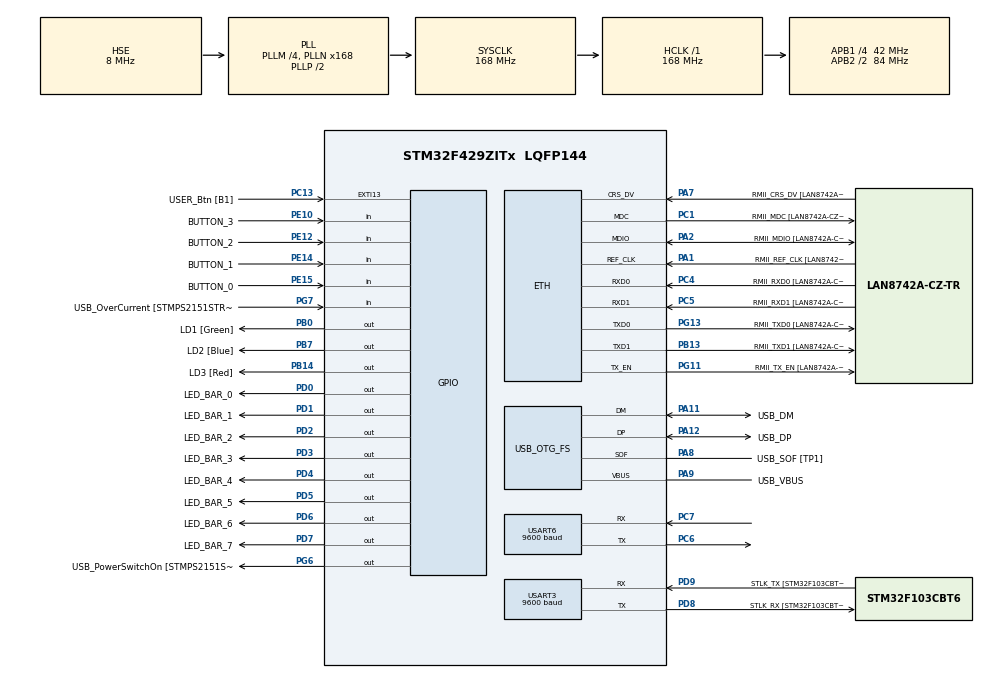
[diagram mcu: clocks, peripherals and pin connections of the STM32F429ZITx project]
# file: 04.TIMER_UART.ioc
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ETH.MediaInterface=HAL_ETH_RMII_MODE
ETH.PHY_Name=LAN8742A_PHY_ADDRESS
ETH.PHY_Value=0
ETH.PhyAddress=0
Mcu.Family=STM32F4
Mcu.Name=STM32F429ZITx
Mcu.Package=LQFP144
NVIC.PriorityGroup=NVIC_PRIORITYGROUP_4
NVIC.USART3_IRQn=true\:0\:0\:false\:false\:true\:true\:true\:true
NVIC.USART6_IRQn=true\:0\:0\:false\:false\:true\:true\:true\:true
PA1.GPIO_Label=RMII_REF_CLK [LAN8742A-CZ-TR_REFCLK0]
PA1.Mode=RMII
PA1.Signal=ETH_REF_CLK
PA10.GPIO_Label=USB_ID
PA10.Signal=USB_OTG_FS_ID
PA11.GPIO_Label=USB_DM
PA11.Mode=Device_Only
PA11.Signal=USB_OTG_FS_DM
PA12.GPIO_Label=USB_DP
PA12.Mode=Device_Only
PA12.Signal=USB_OTG_FS_DP
PA13.GPIO_Label=TMS
PA13.Mode=Serial_Wire
PA13.Signal=SYS_JTMS-SWDIO
PA14.GPIO_Label=TCK
PA14.Mode=Serial_Wire
PA14.Signal=SYS_JTCK-SWCLK
PA2.GPIO_Label=RMII_MDIO [LAN8742A-CZ-TR_MDIO]
PA2.Mode=RMII
PA2.Signal=ETH_MDIO
PA7.GPIO_Label=RMII_CRS_DV [LAN8742A-CZ-TR_CRS_DV]
PA7.Mode=RMII
PA7.Signal=ETH_CRS_DV
PA8.GPIO_Label=USB_SOF [TP1]
PA8.Mode=Activate_SOF_FS
PA8.Signal=USB_OTG_FS_SOF
PA9.GPIO_Label=USB_VBUS
PA9.Mode=Activate_VBUS
PA9.Signal=USB_OTG_FS_VBUS
PB0.GPIO_Label=LD1 [Green]
PB0.Signal=GPIO_Output
PB13.GPIO_Label=RMII_TXD1 [LAN8742A-CZ-TR_TXD1]
PB13.Mode=RMII
PB13.Signal=ETH_TXD1
PB14.GPIO_Label=LD3 [Red]
PB14.Signal=GPIO_Output
PB7.GPIO_Label=LD2 [Blue]
PB7.Signal=GPIO_Output
PC1.GPIO_Label=RMII_MDC [LAN8742A-CZ-TR_MDC]
PC1.Mode=RMII
PC1.Signal=ETH_MDC
PC13.GPIO_Label=USER_Btn [B1]
PC13.Signal=GPXTI13
PC14/OSC32_IN.Mode=LSE-External-Oscillator
PC14/OSC32_IN.Signal=RCC_OSC32_IN
PC15/OSC32_OUT.Mode=LSE-External-Oscillator
PC15/OSC32_OUT.Signal=RCC_OSC32_OUT
PC4.GPIO_Label=RMII_RXD0 [LAN8742A-CZ-TR_RXD0]
PC4.Mode=RMII
PC4.Signal=ETH_RXD0
PC5.GPIO_Label=RMII_RXD1 [LAN8742A-CZ-TR_RXD1]
PC5.Mode=RMII
PC5.Signal=ETH_RXD1
PC6.Mode=Asynchronous
PC6.Signal=USART6_TX
PC7.Mode=Asynchronous
PC7.Signal=USART6_RX
PD0.GPIO_Label=LED_BAR_0
PD0.PinState=GPIO_PIN_RESET
PD0.Signal=GPIO_Output
PD1.GPIO_Label=LED_BAR_1
PD1.PinState=GPIO_PIN_RESET
PD1.Signal=GPIO_Output
PD2.GPIO_Label=LED_BAR_2
PD2.PinState=GPIO_PIN_RESET
PD2.Signal=GPIO_Output
PD3.GPIO_Label=LED_BAR_3
PD3.PinState=GPIO_PIN_RESET
PD3.Signal=GPIO_Output
PD4.GPIO_Label=LED_BAR_4
PD4.PinState=GPIO_PIN_RESET
PD4.Signal=GPIO_Output
PD5.GPIO_Label=LED_BAR_5
PD5.PinState=GPIO_PIN_RESET
PD5.Signal=GPIO_Output
PD6.GPIO_Label=LED_BAR_6
PD6.PinState=GPIO_PIN_RESET
PD6.Signal=GPIO_Output
PD7.GPIO_Label=LED_BAR_7
PD7.PinState=GPIO_PIN_RESET
PD7.Signal=GPIO_Output
PD8.GPIO_Label=STLK_RX [STM32F103CBT6_PA3]
PD8.Mode=Asynchronous
PD8.Signal=USART3_TX
PD9.GPIO_Label=STLK_TX [STM32F103CBT6_PA2]
PD9.Mode=Asynchronous
PD9.Signal=USART3_RX
PE10.GPIO_Label=BUTTON_3
PE10.Signal=GPIO_Input
PE12.GPIO_Label=BUTTON_2
PE12.Signal=GPIO_Input
PE14.GPIO_Label=BUTTON_1
PE14.Signal=GPIO_Input
PE15.GPIO_Label=BUTTON_0
PE15.Signal=GPIO_Input
PG11.GPIO_Label=RMII_TX_EN [LAN8742A-CZ-TR_TXEN]
PG11.Mode=RMII
PG11.Signal=ETH_TX_EN
PG13.GPIO_Label=RMII_TXD0 [LAN8742A-CZ-TR_TXD0]
PG13.Mode=RMII
PG13.Signal=ETH_TXD0
PG6.GPIO_Label=USB_PowerSwitchOn [STMPS2151STR_EN]
PG6.Signal=GPIO_Output
PG7.GPIO_Label=USB_OverCurrent [STMPS2151STR_FAULT]
PG7.Signal=GPIO_Input
PH0/OSC_IN.GPIO_Label=MCO [STM32F103CBT6_PA8]
PH0/OSC_IN.Mode=HSE-External-Clock-Source
PH0/OSC_IN.Signal=RCC_OSC_IN
PH1/OSC_OUT.Mode=HSE-External-Clock-Source
PH1/OSC_OUT.Signal=RCC_OSC_OUT
ProjectManager.HeapSize=0x200
ProjectManager.StackSize=0x400
ProjectManager.TargetToolchain=STM32CubeIDE
RCC.48MHZClocksFreq_Value=48000000
RCC.AHBFreq_Value=168000000
RCC.APB1CLKDivider=RCC_HCLK_DIV4
RCC.APB1Freq_Value=42000000
RCC.APB1TimFreq_Value=84000000
RCC.APB2CLKDivider=RCC_HCLK_DIV2
RCC.APB2Freq_Value=84000000
RCC.APB2TimCLKDivider=2
RCC.APB2TimFreq_Value=168000000
RCC.CortexFreq_Value=168000000
RCC.HCLKFreq_Value=168000000
RCC.HSE_VALUE=8000000
RCC.HSI_VALUE=16000000
RCC.PLLM=4
RCC.PLLMUL=RCC_PLL_MUL9
RCC.PLLN=168
RCC.PLLQ=7
RCC.PRESCALERUSB=RCC_USBCLKSOURCE_PLL_DIV1_5
RCC.SYSCLKFreq_VALUE=168000000
RCC.SYSCLKSource=RCC_SYSCLKSOURCE_PLLCLK
RCC.SYSCLKSourceVirtual=RCC_SYSCLKSOURCE_PLLCLK
RCC.USBFreq_Value=48000000
RCC.VCOOutputFreq_Value=336000000
USART3.BaudRate=9600
USART3.VirtualMode=VM_ASYNC
USART6.BaudRate=9600
USART6.VirtualMode=VM_ASYNC
USB_OTG_FS.VirtualMode=Device_Only
board=NUCLEO-F429ZI

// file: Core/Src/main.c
/* USER CODE BEGIN Header */
/**
  ******************************************************************************
  * @file           : main.c
  * @brief          : Main program body
  ******************************************************************************
  * @attention
  *
  * Copyright (c) 2023 STMicroelectronics.
  * All rights reserved.
  *
  * This software is licensed under terms that can be found in the LICENSE file
  * in the root directory of this software component.
  * If no LICENSE file comes with this software, it is provided AS-IS.
  *
  ******************************************************************************
  */
/* USER CODE END Header */
#include "main.h"
#include "string.h"

/* USER CODE BEGIN Includes */
//#include "led.h"
#include "led_final.h"
#include "button.h"
/* USER CODE END Includes */

ETH_TxPacketConfig TxConfig;
ETH_DMADescTypeDef  DMARxDscrTab[ETH_RX_DESC_CNT]; /* Ethernet Rx DMA Descriptors */
ETH_DMADescTypeDef  DMATxDscrTab[ETH_TX_DESC_CNT]; /* Ethernet Tx DMA Descriptors */

ETH_HandleTypeDef heth;

UART_HandleTypeDef huart3;
UART_HandleTypeDef huart6;

PCD_HandleTypeDef hpcd_USB_OTG_FS;

/* USER CODE BEGIN PV */
	uint8_t rx_data; 	// uart3 rx data
	uint8_t bt_rx_data; // uart6 BLUETOOTH rx data
/* USER CODE END PV */

void SystemClock_Config(void);
static void MX_GPIO_Init(void);
static void MX_ETH_Init(void);
static void MX_USART3_UART_Init(void);
static void MX_USB_OTG_FS_PCD_Init(void);
static void MX_USART6_UART_Init(void);
/* USER CODE BEGIN PFP */
//extern void led_main(void);
extern void led_final_main(void);
extern void pc_command_processing(void);
extern void bt_command_processing(void);
/* USER CODE END PFP */

/* USER CODE BEGIN 0 */
// call by SysTick_Handler of stm3244xx_it.c
// ARM default timer
// enter here every 1ms
volatile int t1ms_counter = 0; // volatile : 컴파?��?��?�� ?��?�� 최적?�� 방�?
void HAL_SYSTICK_Handler(void)
{
	t1ms_counter++;
}
//----------  printf start ----------
#ifdef __GNUC__
/* With GCC, small printf (option LD Linker->Libraries->Small printf
   set to 'Yes') calls __io_putchar() */
#define PUTCHAR_PROTOTYPE int __io_putchar(int ch)
#else
#define PUTCHAR_PROTOTYPE int fputc(int ch, FILE *f)
#endif /* __GNUC_ */
/**
  * @brief  Retargets the C library printf function to the USART.
  * @param  None
  * @retval None
  */
PUTCHAR_PROTOTYPE   // Add for printf
{
  /* Place your implementation of fputc here */
  /* e.g. write a character to the USART3 and Loop until the end of transmission */
  HAL_UART_Transmit(&huart3, (uint8_t *)&ch, 1, 0xFFFF);

  return ch;
}
//----------  printf end ----------
/* USER CODE END 0 */

int main(void)
{

  /* MCU Configuration--------------------------------------------------------*/

  /* Reset of all peripherals, Initializes the Flash interface and the Systick. */
  HAL_Init();

  /* Configure the system clock */
  SystemClock_Config();

  /* Initialize all configured peripherals */
  MX_GPIO_Init();
  MX_ETH_Init();
  MX_USART3_UART_Init();
  MX_USB_OTG_FS_PCD_Init();
  MX_USART6_UART_Init();
  /* USER CODE BEGIN 2 */

  HAL_UART_Receive_IT(&huart3, &rx_data, 1);   // Assign to RX INT
  HAL_UART_Receive_IT(&huart6, &bt_rx_data, 1);
//printf("CALLING LED_MAIN()\n");
//  led_main();
//printf("CALLING THE FINAL LED_FINAL_MAIN()\n");
//  led_final_main();
  /* USER CODE END 2 */

  /* Infinite loop */
  /* USER CODE BEGIN WHILE */
  while (1)
  {
//	  printf("7604\n");
//	  HAL_Delay(100);
	  pc_command_processing();
//	  bt_command_processing();
    /* USER CODE END WHILE */

    /* USER CODE BEGIN 3 */
//	  HAL_GPIO_TogglePin(GPIOB, GPIO_PIN_14); // LED3
//	  HAL_Delay(100); // delay for 100 ms
//	  HAL_GPIO_TogglePin(GPIOB, GPIO_PIN_7);  // LED2
//	  HAL_Delay(200); // delay for 200 ms
//	  HAL_GPIO_TogglePin(GPIOB, GPIO_PIN_0);  // LED1
//	  HAL_Delay(300); // delay for 300 ms

//	  HAL_GPIO_TogglePin(GPIOD, GPIO_PIN_0);  // LED1
//	  HAL_Delay(300); // delay for 300 ms
//	  HAL_GPIO_TogglePin(GPIOD, GPIO_PIN_1);  // LED1
//	  HAL_Delay(300); // delay for 300 ms
//	  HAL_GPIO_TogglePin(GPIOD, GPIO_PIN_2);  // LED1
//	  HAL_Delay(300); // delay for 300 ms
//	  HAL_GPIO_TogglePin(GPIOD, GPIO_PIN_3);  // LED1
//	  HAL_Delay(300); // delay for 300 ms
//	  HAL_GPIO_TogglePin(GPIOD, GPIO_PIN_4);  // LED1
//	  HAL_Delay(300); // delay for 300 ms
//	  HAL_GPIO_TogglePin(GPIOD, GPIO_PIN_5);  // LED1
//	  HAL_Delay(300); // delay for 300 ms
//	  HAL_GPIO_TogglePin(GPIOD, GPIO_PIN_6);  // LED1
//	  HAL_Delay(300); // delay for 300 ms
//	  HAL_GPIO_TogglePin(GPIOD, GPIO_PIN_7);  // LED1
//	  HAL_Delay(300); // delay for 300 ms
  }
  /* USER CODE END 3 */
}

void SystemClock_Config(void)
{
  RCC_OscInitTypeDef RCC_OscInitStruct = {0};
  RCC_ClkInitTypeDef RCC_ClkInitStruct = {0};

  /** Configure the main internal regulator output voltage
  */
  __HAL_RCC_PWR_CLK_ENABLE();
  __HAL_PWR_VOLTAGESCALING_CONFIG(PWR_REGULATOR_VOLTAGE_SCALE1);

  /** Initializes the RCC Oscillators according to the specified parameters
  * in the RCC_OscInitTypeDef structure.
  */
  RCC_OscInitStruct.OscillatorType = RCC_OSCILLATORTYPE_HSE;
  RCC_OscInitStruct.HSEState = RCC_HSE_BYPASS;
  RCC_OscInitStruct.PLL.PLLState = RCC_PLL_ON;
  RCC_OscInitStruct.PLL.PLLSource = RCC_PLLSOURCE_HSE;
  RCC_OscInitStruct.PLL.PLLM = 4;
  RCC_OscInitStruct.PLL.PLLN = 168;
  RCC_OscInitStruct.PLL.PLLP = RCC_PLLP_DIV2;
  RCC_OscInitStruct.PLL.PLLQ = 7;
  if (HAL_RCC_OscConfig(&RCC_OscInitStruct) != HAL_OK)
  {
    Error_Handler();
  }

  /** Initializes the CPU, AHB and APB buses clocks
  */
  RCC_ClkInitStruct.ClockType = RCC_CLOCKTYPE_HCLK|RCC_CLOCKTYPE_SYSCLK
                              |RCC_CLOCKTYPE_PCLK1|RCC_CLOCKTYPE_PCLK2;
  RCC_ClkInitStruct.SYSCLKSource = RCC_SYSCLKSOURCE_PLLCLK;
  RCC_ClkInitStruct.AHBCLKDivider = RCC_SYSCLK_DIV1;
  RCC_ClkInitStruct.APB1CLKDivider = RCC_HCLK_DIV4;
  RCC_ClkInitStruct.APB2CLKDivider = RCC_HCLK_DIV2;

  if (HAL_RCC_ClockConfig(&RCC_ClkInitStruct, FLASH_LATENCY_5) != HAL_OK)
  {
    Error_Handler();
  }
}

static void MX_ETH_Init(void)
{

   static uint8_t MACAddr[6];

  heth.Instance = ETH;
  MACAddr[0] = 0x00;
  MACAddr[1] = 0x80;
  MACAddr[2] = 0xE1;
  MACAddr[3] = 0x00;
  MACAddr[4] = 0x00;
  MACAddr[5] = 0x00;
  heth.Init.MACAddr = &MACAddr[0];
  heth.Init.MediaInterface = HAL_ETH_RMII_MODE;
  heth.Init.TxDesc = DMATxDscrTab;
  heth.Init.RxDesc = DMARxDscrTab;
  heth.Init.RxBuffLen = 1524;

  if (HAL_ETH_Init(&heth) != HAL_OK)
  {
    Error_Handler();
  }

  memset(&TxConfig, 0 , sizeof(ETH_TxPacketConfig));
  TxConfig.Attributes = ETH_TX_PACKETS_FEATURES_CSUM | ETH_TX_PACKETS_FEATURES_CRCPAD;
  TxConfig.ChecksumCtrl = ETH_CHECKSUM_IPHDR_PAYLOAD_INSERT_PHDR_CALC;
  TxConfig.CRCPadCtrl = ETH_CRC_PAD_INSERT;

}

static void MX_USART3_UART_Init(void)
{

  huart3.Instance = USART3;
  huart3.Init.BaudRate = 9600;
  huart3.Init.WordLength = UART_WORDLENGTH_8B;
  huart3.Init.StopBits = UART_STOPBITS_1;
  huart3.Init.Parity = UART_PARITY_NONE;
  huart3.Init.Mode = UART_MODE_TX_RX;
  huart3.Init.HwFlowCtl = UART_HWCONTROL_NONE;
  huart3.Init.OverSampling = UART_OVERSAMPLING_16;
  if (HAL_UART_Init(&huart3) != HAL_OK)
  {
    Error_Handler();
  }

}

static void MX_USART6_UART_Init(void)
{

  huart6.Instance = USART6;
  huart6.Init.BaudRate = 9600;
  huart6.Init.WordLength = UART_WORDLENGTH_8B;
  huart6.Init.StopBits = UART_STOPBITS_1;
  huart6.Init.Parity = UART_PARITY_NONE;
  huart6.Init.Mode = UART_MODE_TX_RX;
  huart6.Init.HwFlowCtl = UART_HWCONTROL_NONE;
  huart6.Init.OverSampling = UART_OVERSAMPLING_16;
  if (HAL_UART_Init(&huart6) != HAL_OK)
  {
    Error_Handler();
  }

}

static void MX_USB_OTG_FS_PCD_Init(void)
{

  hpcd_USB_OTG_FS.Instance = USB_OTG_FS;
  hpcd_USB_OTG_FS.Init.dev_endpoints = 4;
  hpcd_USB_OTG_FS.Init.speed = PCD_SPEED_FULL;
  hpcd_USB_OTG_FS.Init.dma_enable = DISABLE;
  hpcd_USB_OTG_FS.Init.phy_itface = PCD_PHY_EMBEDDED;
  hpcd_USB_OTG_FS.Init.Sof_enable = ENABLE;
  hpcd_USB_OTG_FS.Init.low_power_enable = DISABLE;
  hpcd_USB_OTG_FS.Init.lpm_enable = DISABLE;
  hpcd_USB_OTG_FS.Init.vbus_sensing_enable = ENABLE;
  hpcd_USB_OTG_FS.Init.use_dedicated_ep1 = DISABLE;
  if (HAL_PCD_Init(&hpcd_USB_OTG_FS) != HAL_OK)
  {
    Error_Handler();
  }

}

static void MX_GPIO_Init(void)
{
  GPIO_InitTypeDef GPIO_InitStruct = {0};

  /* GPIO Ports Clock Enable */
  __HAL_RCC_GPIOC_CLK_ENABLE();
  __HAL_RCC_GPIOH_CLK_ENABLE();
  __HAL_RCC_GPIOA_CLK_ENABLE();
  __HAL_RCC_GPIOB_CLK_ENABLE();
  __HAL_RCC_GPIOE_CLK_ENABLE();
  __HAL_RCC_GPIOD_CLK_ENABLE();
  __HAL_RCC_GPIOG_CLK_ENABLE();

  /*Configure GPIO pin Output Level */
  HAL_GPIO_WritePin(GPIOB, LD1_Pin|LD3_Pin|LD2_Pin, GPIO_PIN_RESET);

  /*Configure GPIO pin Output Level */
  HAL_GPIO_WritePin(USB_PowerSwitchOn_GPIO_Port, USB_PowerSwitchOn_Pin, GPIO_PIN_RESET);

  /*Configure GPIO pin Output Level */
  HAL_GPIO_WritePin(GPIOD, LED_BAR_0_Pin|LED_BAR_1_Pin|LED_BAR_2_Pin|LED_BAR_3_Pin
                          |LED_BAR_4_Pin|LED_BAR_5_Pin|LED_BAR_6_Pin|LED_BAR_7_Pin, GPIO_PIN_RESET);

  /*Configure GPIO pin : USER_Btn_Pin */
  GPIO_InitStruct.Pin = USER_Btn_Pin;
  GPIO_InitStruct.Mode = GPIO_MODE_IT_RISING;
  GPIO_InitStruct.Pull = GPIO_NOPULL;
  HAL_GPIO_Init(USER_Btn_GPIO_Port, &GPIO_InitStruct);

  /*Configure GPIO pins : LD1_Pin LD3_Pin LD2_Pin */
  GPIO_InitStruct.Pin = LD1_Pin|LD3_Pin|LD2_Pin;
  GPIO_InitStruct.Mode = GPIO_MODE_OUTPUT_PP;
  GPIO_InitStruct.Pull = GPIO_NOPULL;
  GPIO_InitStruct.Speed = GPIO_SPEED_FREQ_LOW;
  HAL_GPIO_Init(GPIOB, &GPIO_InitStruct);

  /*Configure GPIO pins : BUTTON_3_Pin BUTTON_2_Pin BUTTON_1_Pin BUTTON_0_Pin */
  GPIO_InitStruct.Pin = BUTTON_3_Pin|BUTTON_2_Pin|BUTTON_1_Pin|BUTTON_0_Pin;
  GPIO_InitStruct.Mode = GPIO_MODE_INPUT;
  GPIO_InitStruct.Pull = GPIO_NOPULL;
  HAL_GPIO_Init(GPIOE, &GPIO_InitStruct);

  /*Configure GPIO pin : USB_PowerSwitchOn_Pin */
  GPIO_InitStruct.Pin = USB_PowerSwitchOn_Pin;
  GPIO_InitStruct.Mode = GPIO_MODE_OUTPUT_PP;
  GPIO_InitStruct.Pull = GPIO_NOPULL;
  GPIO_InitStruct.Speed = GPIO_SPEED_FREQ_LOW;
  HAL_GPIO_Init(USB_PowerSwitchOn_GPIO_Port, &GPIO_InitStruct);

  /*Configure GPIO pin : USB_OverCurrent_Pin */
  GPIO_InitStruct.Pin = USB_OverCurrent_Pin;
  GPIO_InitStruct.Mode = GPIO_MODE_INPUT;
  GPIO_InitStruct.Pull = GPIO_NOPULL;
  HAL_GPIO_Init(USB_OverCurrent_GPIO_Port, &GPIO_InitStruct);

  /*Configure GPIO pins : LED_BAR_0_Pin LED_BAR_1_Pin LED_BAR_2_Pin LED_BAR_3_Pin
                           LED_BAR_4_Pin LED_BAR_5_Pin LED_BAR_6_Pin LED_BAR_7_Pin */
  GPIO_InitStruct.Pin = LED_BAR_0_Pin|LED_BAR_1_Pin|LED_BAR_2_Pin|LED_BAR_3_Pin
                          |LED_BAR_4_Pin|LED_BAR_5_Pin|LED_BAR_6_Pin|LED_BAR_7_Pin;
  GPIO_InitStruct.Mode = GPIO_MODE_OUTPUT_PP;
  GPIO_InitStruct.Pull = GPIO_NOPULL;
  GPIO_InitStruct.Speed = GPIO_SPEED_FREQ_LOW;
  HAL_GPIO_Init(GPIOD, &GPIO_InitStruct);

}

void Error_Handler(void)
{
  __disable_irq();
  while (1)
  {
  }
}
